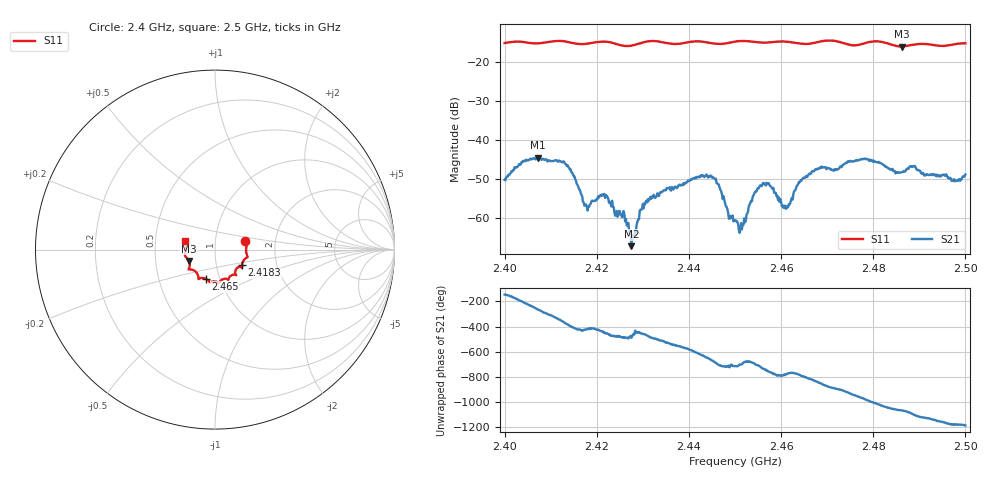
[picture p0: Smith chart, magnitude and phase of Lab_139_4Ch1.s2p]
# Hz S RI R 50
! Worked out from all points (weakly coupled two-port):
!   601 points, 2.4 GHz to 2.5 GHz, reference 50 ohm
!   highest |S21| = -44.59 dB at 2.4072 GHz (marker M1); lowest = -67.3 dB at 2.4275 GHz (marker M2)
!   lowest |S11| = -16.0 dB at 2.4862 GHz (marker M3), VSWR 1.38, Z = 37.1 - j4.83 ohm
!   |S11| at or under -10 dB: start of sweep to end of sweep
!   S12 and S22 are empty: the file has one direction only
!   S11 on the Smith chart (normalised r, x): 2.4 GHz: 1.40, +0.13; 2.4183 GHz: 1.33, -0.24; 2.465 GHz: 0.86, -0.29; 2.5 GHz: 0.71, +0.07
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2.4e9  0.1689 0.0456  -0.00253 -0.00173  0 0  0 0
2.407167e9  0.1731 -0.00517  -0.000743 0.00585  0 0  0 0
2.413167e9  0.1779 -0.0444  0.00478 -0.00122  0 0  0 0
2.416667e9  0.1552 -0.0684  0.00059 -0.00189  0 0  0 0
2.418333e9  0.1501 -0.0871  0.000694 -0.00121  0 0  0 0
2.421833e9  0.1524 -0.0999  -0.000159 -0.00179  0 0  0 0
2.425833e9  0.1267 -0.0998  -0.000812 -0.000915  0 0  0 0
2.4275e9  0.1156 -0.1135  -0.000275 -0.000334  0 0  0 0
2.429833e9  0.1136 -0.1354  -0.000157 -0.00128  0 0  0 0
2.433333e9  0.1169 -0.1412  -0.00158 -0.00119  0 0  0 0
2.445e9  0.0618 -0.1626  0.00216 0.00249  0 0  0 0
2.45e9  0.0253 -0.1808  0.000918 6.83e-05  0 0  0 0
2.451333e9  0.0223 -0.1846  0.000818 0.00026  0 0  0 0
2.455833e9  0.00049 -0.1774  0.00251 -0.000479  0 0  0 0
2.457833e9  -0.0168 -0.1784  0.00172 -0.00185  0 0  0 0
2.461e9  -0.0304 -0.1801  0.000604 -0.00116  0 0  0 0
2.465e9  -0.0525 -0.1623  0.00046 -0.00322  0 0  0 0
2.466667e9  -0.0711 -0.1579  -0.000775 -0.00384  0 0  0 0
2.478e9  -0.1326 -0.1112  -0.00146 0.00555  0 0  0 0
2.483333e9  -0.1421 -0.096  0.00356 0.00239  0 0  0 0
2.486167e9  -0.1447 -0.0635  0.00374 0.000854  0 0  0 0
2.5e9  -0.1669 0.0472  -0.00107 -0.00343  0 0  0 0
